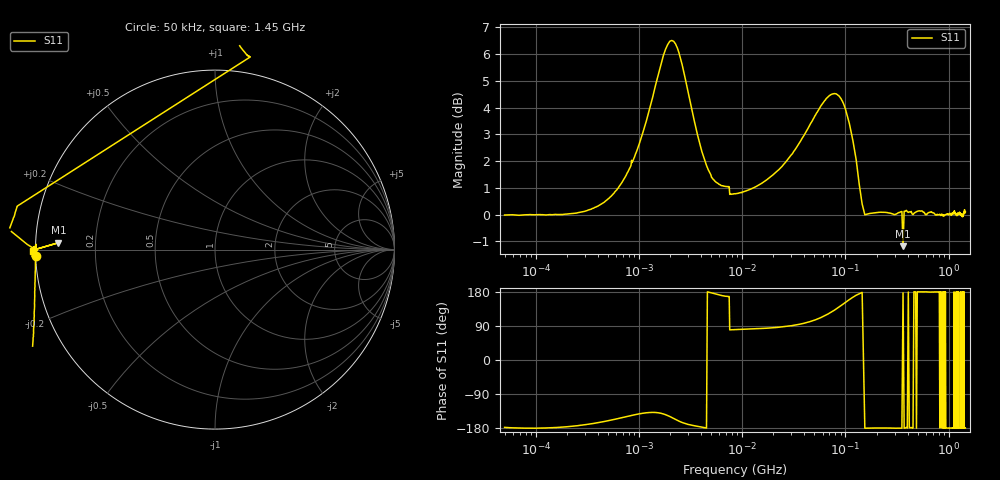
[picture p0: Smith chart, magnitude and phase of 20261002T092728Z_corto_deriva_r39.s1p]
! piloto_deriva / corto_deriva / r39
# HZ S RI R 50
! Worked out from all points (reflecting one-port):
!   501 points, 50 kHz to 1.45 GHz, reference 50 ohm
!   lowest |S11| = -1.2 dB at 361 MHz (marker M1), VSWR 14.77, Z = 3.39 + j1.09 ohm
!   phase of S11 starts at -178 deg and turns -2 deg over the sweep
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50000  -0.9977 -0.0372
183000  -0.9995 -0.0518
363500  -1.003 -0.2242
658000  -1.014 -0.5114
1180000  -1.134 -0.9764
1630000  -1.473 -1.212
1990000  -1.81 -1.082
2170000  -1.901 -0.9099
2440000  -1.901 -0.6433
3070000  -1.632 -0.2688
4330000  -1.264 -0.0304
7300000  -1.102 0.241
7750000  0.1926 1.075
8560000  0.1877 1.078
1.99e7  0.1007 1.183
3.16e7  -0.0349 1.313
4.69e7  -0.3231 1.453
6.76e7  -0.861 1.419
8.02e7  -1.156 1.22
9.46e7  -1.362 0.8761
9.82e7  -1.384 0.7832
1e8  -1.391 0.7379
1.18e8  -1.333 0.3401
1.36e8  -1.134 0.1005
1.63e8  -1.002 -0.00383
3.61e8  -0.8724 0.0383
4.06e8  -1.01 0.0134
1.45e9  -1.011 -0.00616
